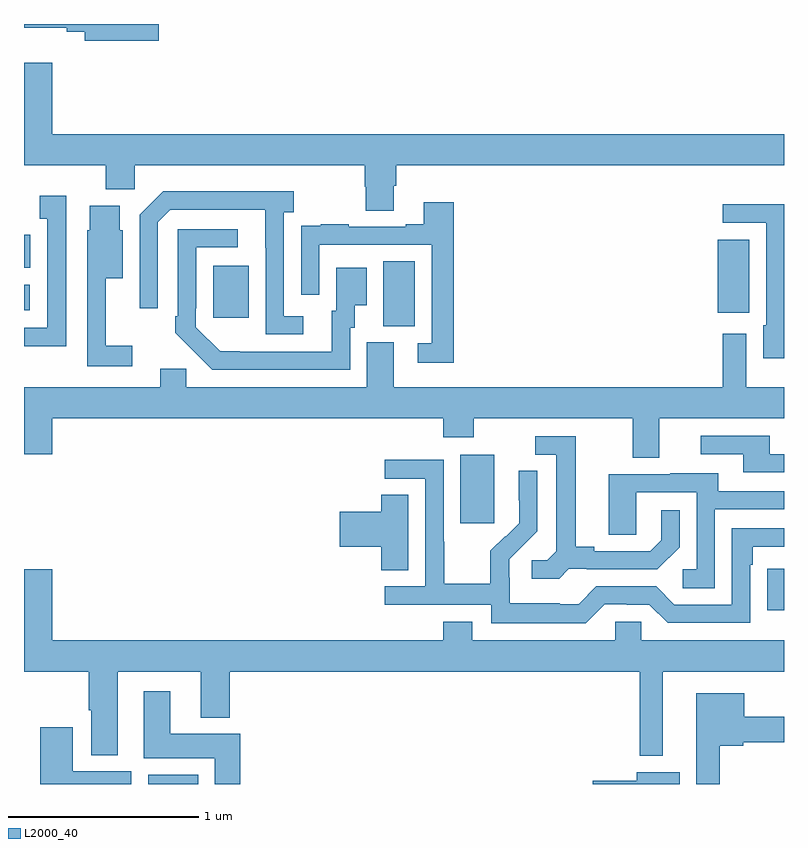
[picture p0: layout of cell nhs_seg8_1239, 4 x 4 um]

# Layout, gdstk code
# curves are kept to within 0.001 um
import gdstk
lib = gdstk.Library(unit=1e-6, precision=1e-09)
def R(c, l, rs):  # rectangles x0, y0, x1, y1
    for r in rs: c.add(gdstk.rectangle(r[:2], r[2:], *l))
def P(c, l, *ps):  # polygons
    for p in ps: c.add(gdstk.Polygon(p, *l))
L2000_40 = (2000, 40)

nhs_seg8_1239 = lib.new_cell('nhs_seg8_1239')
R(nhs_seg8_1239, L2000_40, [(189.653,1123.9,189.916,1123.948), (192.913,1124.814,193,1125.032), (191.297,1125.273,191.476,1125.634), (190.892,1126.309,191.056,1126.652), (189.995,1126.353,190.183,1126.627), (192.65,1126.379,192.817,1126.765), (189,1126.394,189.031,1126.528), (189,1126.616,189.034,1126.792)])
P(nhs_seg8_1239, L2000_40, [(189.709,1127.9),(189,1127.9),(189,1127.879),(189.224,1127.879),(189.224,1127.86),(189.32,1127.86),(189.32,1127.813),(189.709,1127.813)],
  [(190.945,1127.05),(190.958,1127.05),(190.958,1127.156),(193,1127.156),(193,1127.32),(189.148,1127.32),(189.148,1127.695),(189,1127.695),(189,1127.156),(189.431,1127.156),(189.431,1127.029),(189.582,1127.029),(189.582,1127.156),(190.793,1127.156),(190.793,1127.043),(190.798,1127.043),(190.798,1126.918),(190.945,1126.918)],
  [(190.471,1126.362),(190.368,1126.362),(190.368,1126.91),(190.42,1126.91),(190.42,1127.02),(189.732,1127.02),(189.609,1126.897),(189.609,1126.404),(189.705,1126.404),(189.705,1126.857),(189.771,1126.923),(190.271,1126.923),(190.272,1126.266),(190.471,1126.266)],
  [(189.223,1126.996),(189.083,1126.996),(189.083,1126.875),(189.122,1126.875),(189.122,1126.302),(189,1126.302),(189,1126.205),(189.223,1126.205)],
  [(191.261,1126.963),(191.105,1126.963),(191.105,1126.846),(191.009,1126.846),(191.009,1126.833),(190.709,1126.833),(190.709,1126.846),(190.561,1126.846),(190.561,1126.839),(190.459,1126.839),(190.459,1126.73),(190.458,1126.73),(190.458,1126.476),(190.554,1126.476),(190.554,1126.737),(191.145,1126.737),(191.145,1126.221),(191.073,1126.221),(191.073,1126.116),(191.261,1126.116)],
  [(193,1126.952),(192.678,1126.952),(192.678,1126.854),(192.906,1126.854),(192.906,1126.314),(192.89,1126.314),(192.89,1126.142),(193,1126.142)],
  [(189.571,1126.207),(189.431,1126.207),(189.431,1126.562),(189.52,1126.562),(189.52,1126.815),(189.505,1126.815),(189.505,1126.944),(189.347,1126.944),(189.347,1126.815),(189.333,1126.815),(189.333,1126.098),(189.571,1126.098)],
  [(190.716,1126.302),(190.741,1126.302),(190.741,1126.421),(190.804,1126.421),(190.804,1126.618),(190.643,1126.618),(190.643,1126.392),(190.619,1126.392),(190.619,1126.176),(190.032,1126.177),(189.903,1126.305),(189.903,1126.405),(189.906,1126.405),(189.906,1126.725),(190.126,1126.725),(190.126,1126.821),(189.81,1126.821),(189.81,1126.363),(189.795,1126.363),(189.795,1126.275),(189.992,1126.08),(190.716,1126.08)],
  [(189.716,1126.086),(189.716,1125.988),(189,1125.988),(189,1125.636),(189.148,1125.636),(189.148,1125.824),(191.207,1125.824),(191.207,1125.725),(191.367,1125.725),(191.367,1125.824),(192.203,1125.824),(192.203,1125.616),(192.343,1125.616),(192.343,1125.824),(193,1125.824),(193,1125.988),(192.802,1125.988),(192.802,1126.27),(192.677,1126.27),(192.677,1125.988),(190.945,1125.988),(190.945,1126.224),(190.805,1126.224),(190.805,1125.988),(189.855,1125.988),(189.855,1126.086)],
  [(193,1125.636),(192.925,1125.636),(192.925,1125.732),(192.561,1125.732),(192.561,1125.636),(192.785,1125.636),(192.785,1125.54),(193,1125.54)],
  [(191.868,1125.033),(191.962,1125.033),(191.962,1125.03),(192.334,1125.03),(192.45,1125.146),(192.45,1125.34),(192.353,1125.34),(192.353,1125.183),(192.296,1125.126),(192.001,1125.126),(192.001,1125.149),(191.905,1125.149),(191.905,1125.729),(191.691,1125.729),(191.691,1125.633),(191.801,1125.633),(191.801,1125.125),(191.754,1125.078),(191.673,1125.078),(191.673,1124.981),(191.816,1124.981)],
  [(192.057,1124.847),(192.173,1124.847),(192.173,1124.844),(192.291,1124.844),(192.387,1124.748),(192.822,1124.748),(192.822,1125.053),(192.835,1125.053),(192.835,1125.15),(193,1125.15),(193,1125.246),(192.726,1125.246),(192.726,1124.844),(192.423,1124.844),(192.327,1124.94),(192.012,1124.94),(191.919,1124.847),(191.819,1124.847),(191.819,1124.851),(191.556,1124.851),(191.556,1124.985),(191.554,1124.985),(191.554,1125.082),(191.7,1125.23),(191.7,1125.548),(191.604,1125.548),(191.604,1125.394),(191.606,1125.394),(191.606,1125.272),(191.535,1125.201),(191.532,1125.204),(191.455,1125.127),(191.455,1124.953),(191.211,1124.953),(191.211,1125.176),(191.208,1125.176),(191.208,1125.606),(190.899,1125.606),(190.899,1125.507),(191.112,1125.507),(191.112,1124.94),(190.899,1124.94),(190.899,1124.844),(191.46,1124.844),(191.46,1124.747),(191.957,1124.747)],
  [(192.636,1125.345),(193,1125.345),(193,1125.441),(192.655,1125.441),(192.655,1125.535),(192.401,1125.535),(192.401,1125.531),(192.077,1125.531),(192.077,1125.211),(192.222,1125.211),(192.222,1125.435),(192.54,1125.435),(192.54,1125.03),(192.468,1125.03),(192.468,1124.929),(192.636,1124.929)],
  [(191.023,1125.422),(190.88,1125.422),(190.88,1125.332),(190.662,1125.332),(190.662,1125.149),(190.88,1125.149),(190.88,1125.025),(191.023,1125.025)],
  [(192.361,1124.492),(193,1124.492),(193,1124.656),(192.249,1124.656),(192.249,1124.754),(192.111,1124.754),(192.111,1124.656),(191.359,1124.656),(191.359,1124.755),(191.207,1124.755),(191.207,1124.656),(189.148,1124.656),(189.148,1125.031),(189,1125.031),(189,1124.492),(189.341,1124.492),(189.341,1124.287),(189.353,1124.287),(189.353,1124.051),(189.493,1124.051),(189.493,1124.492),(189.929,1124.492),(189.929,1124.249),(190.082,1124.249),(190.082,1124.492),(192.24,1124.492),(192.24,1124.048),(192.361,1124.048)],
  [(190.139,1124.164),(189.769,1124.164),(189.769,1124.389),(189.629,1124.389),(189.629,1124.036),(190.004,1124.036),(190.004,1123.9),(190.139,1123.9)],
  [(192.661,1124.102),(192.786,1124.102),(192.786,1124.12),(193,1124.12),(193,1124.254),(192.79,1124.254),(192.79,1124.377),(192.539,1124.377),(192.539,1123.9),(192.661,1123.9)],
  [(189.565,1123.966),(189.256,1123.966),(189.256,1124.2),(189.086,1124.2),(189.086,1123.9),(189.565,1123.9)],
  [(192.451,1123.963),(192.224,1123.963),(192.224,1123.916),(191.994,1123.916),(191.994,1123.9),(192.451,1123.9)])

lib.write_gds('nhs_seg8_1239.gds')
